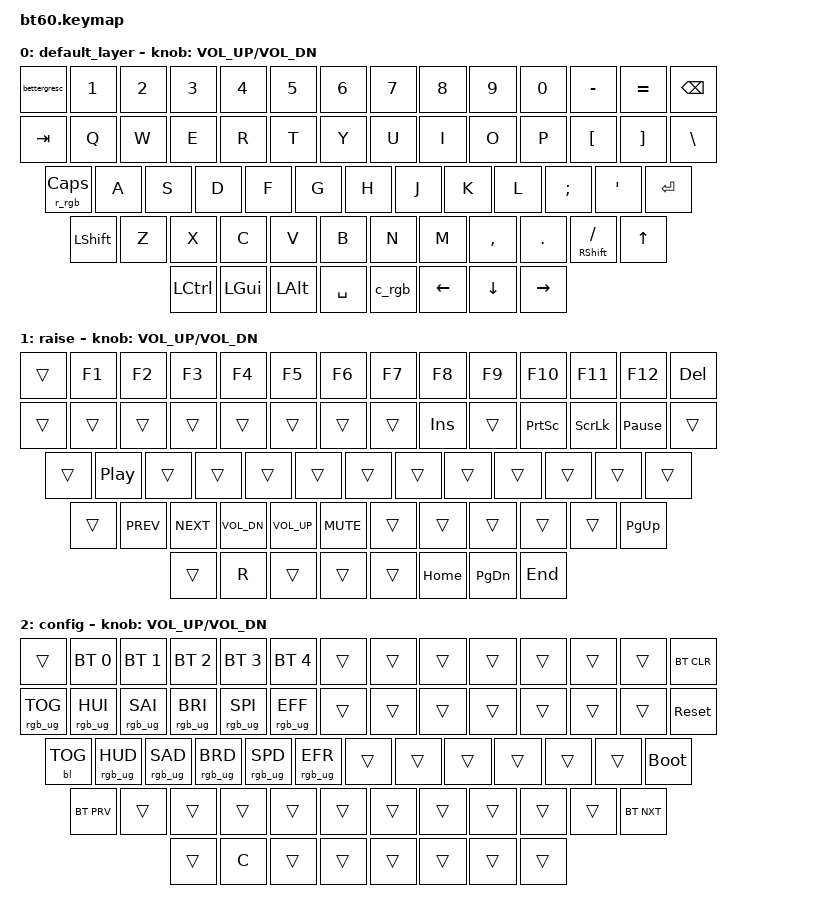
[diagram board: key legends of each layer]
#include <behaviors.dtsi>
#include <dt-bindings/zmk/keys.h>
#include <dt-bindings/zmk/bt.h>
#include <dt-bindings/zmk/rgb.h>
#include <dt-bindings/zmk/backlight.h>

#define DEFAULT 0
#define RAISE   1
#define CONFIG   2

#define RGB0 RGB_COLOR_HSB_VAL(280,100,50)
#define RGB1 RGB_COLOR_HSB_VAL(170,100,50)
#define RGB2 RGB_COLOR_HSB_VAL(0,100,50)

/ {
    behaviors {
        // tui: tap_unless_interrupted {
        //     compatible = "zmk,behavior-hold-tap";
        //     label = "tap_unless_interrupted";
        //     #binding-cells = <2>;
        //     flavor = "tap-unless-interrupted";
        //     tapping-term-ms = <500>;
        //     quick-tap-ms = <200>;
        //     bindings = <&kp>, <&kp>;
        // };

        lt_rgb: layer_tap_rgb {
            compatible = "zmk,behavior-hold-tap";
            label = "layer_tap_rgb";
            #binding-cells = <2>;
            flavor = "tap-preferred";
            tapping-term-ms = <200>;
            bindings = <&r_rgb>, <&kp>;
        };

        bettergresc: better_grave_escape {
            compatible = "zmk,behavior-mod-morph";
            label = "better_grave_escape";
            #binding-cells = <0>;
            bindings = <&kp ESC>, <&kp GRAVE>;
            mods = <(MOD_LGUI|MOD_LCTL|MOD_LSFT|MOD_RSFT)>;
            keep-mods = <(MOD_LCTL|MOD_LSFT|MOD_RSFT)>;
        };
    };

    macros {
        r_rgb: raise_RGB {
            label = "raise_RGB";
            compatible = "zmk,behavior-macro";
            #binding-cells = <0>;
            bindings
                = <&macro_tap &to RAISE>
                , <&macro_tap &rgb_ug RGB_COLOR_HSB_CMD RGB1>
                , <&macro_pause_for_release>
                , <&macro_tap &to DEFAULT>
                , <&macro_tap &rgb_ug RGB_COLOR_HSB_CMD RGB0>;
        };

        c_rgb: config_RGB {
            label = "config_RGB";
            compatible = "zmk,behavior-macro";
            #binding-cells = <0>;
            bindings
                = <&macro_tap &to CONFIG>
                , <&macro_tap &rgb_ug RGB_COLOR_HSB_CMD RGB2>
                , <&macro_pause_for_release>
                , <&macro_tap &to DEFAULT>
                , <&macro_tap &rgb_ug RGB_COLOR_HSB_CMD RGB0>;
        };

        // to_rgb: to_RGB {
        //     label = "to_RGB";
        //     compatible = "zmk,behavior-macro-two-param";
        //     #binding-cells = <2>;
        //     bindings
        //         = <&macro_param_1to1>
        //         , <&macro_tap &to MACRO_PLACEHOLDER>
        //         , <&macro_param_2to2>
        //         , <&macro_tap &rgb_ug RGB_COLOR_HSB_CMD MACRO_PLACEHOLDER>;
        // };
    };

    keymap {
        compatible = "zmk,keymap";

        default_layer {
                // ------------------------------------------------------------------------------------------
                // |  `  |  1  |  2  |  3  |  4  |  5  |  6  |  7  |  8  |  9  |  0  |  -  |  =  |   BKSP
                // | TAB  |  Q  |  W  |  E  |  R  |  T  |  Y  |  U  |  I  |  O  |  P  |  [  |  ]  |   |
                // | CAPS  |  A  |  S  |  D  |  F  |  G  |  H  |  J  |  K  |  L  |  ;  |  '  |     ENTER
                // |  SHIFT    |  Z  |  X  |  C  |  V  |  B  |  N  |  M  |  ,  |  .  | /   |      SHIFT
                // |  CTL  |  WIN  |  ALT  |            SPACE               | ALT | 1    |  MENU    |  CTRL
                // ------------------------------------------------------------------------------------------
            bindings = <
                &bettergresc &kp N1 &kp N2 &kp N3 &kp N4 &kp N5 &kp N6 &kp N7 &kp  N8   &kp  N9 &kp  N0  &kp MINUS &kp EQUAL &kp BSPC
                &kp TAB  &kp Q  &kp W  &kp E  &kp R  &kp T  &kp Y  &kp U  &kp  I    &kp  O  &kp  P   &kp LBKT &kp RBKT   &kp BSLH
                &lt_rgb 0 CAPS  &kp A  &kp S  &kp D  &kp F  &kp G  &kp H  &kp J  &kp  K    &kp  L  &kp SEMI &kp SQT            &kp RET
                &kp LSHFT  &kp Z  &kp X  &kp C  &kp V  &kp B  &kp N  &kp M  &kp COMMA &kp DOT &mt RSHFT FSLH                   &kp UP
                &kp LCTRL &kp LGUI &kp LALT            &kp SPACE                          &c_rgb  &kp LEFT &kp DOWN    &kp RIGHT
            >;
            sensor-bindings = <&inc_dec_kp C_VOL_UP C_VOL_DN>;
        };
        raise {
            bindings = <
                &trans &kp F1 &kp F2 &kp F3 &kp F4 &kp F5 &kp F6 &kp F7 &kp F8 &kp F9 &kp F10 &kp F11 &kp F12 &kp DEL
                &trans &trans &trans &trans &trans &trans &trans &trans &kp INS &trans &kp PSCRN &kp SLCK &kp PAUSE_BREAK &trans
                &trans    &kp C_PLAY_PAUSE &trans &trans &trans &trans &trans &trans &trans &trans &trans  &trans   &trans
                &trans &kp C_PREV &kp C_NEXT &kp C_VOL_DN &kp C_VOL_UP &kp C_MUTE &trans &trans &trans &trans &trans  &kp PG_UP
                &trans &kp R  &trans              &trans                            &trans   &kp HOME   &kp PG_DN &kp END
            >;
            sensor-bindings = <&inc_dec_kp C_VOL_UP C_VOL_DN>;
        };
        config {
            bindings = <
                &trans &bt BT_SEL 0 &bt BT_SEL 1 &bt BT_SEL 2 &bt BT_SEL 3 &bt BT_SEL 4 &trans &trans &trans &trans &trans &trans &trans &bt BT_CLR
                &rgb_ug RGB_TOG &rgb_ug RGB_HUI &rgb_ug RGB_SAI &rgb_ug RGB_BRI &rgb_ug RGB_SPI &rgb_ug RGB_EFF &trans &trans &trans &trans &trans &trans &trans &sys_reset
                &bl BL_TOG    &rgb_ug RGB_HUD &rgb_ug RGB_SAD &rgb_ug RGB_BRD &rgb_ug RGB_SPD &rgb_ug RGB_EFR &trans &trans &trans &trans &trans  &trans   &bootloader
                &bt BT_PRV &trans &trans &trans &trans &trans &trans &trans &trans &trans &trans  &bt BT_NXT
                &trans &kp C  &trans              &trans                            &trans   &trans   &trans &trans
            >;
            sensor-bindings = <&inc_dec_kp C_VOL_UP C_VOL_DN>;
        };
    };
};
